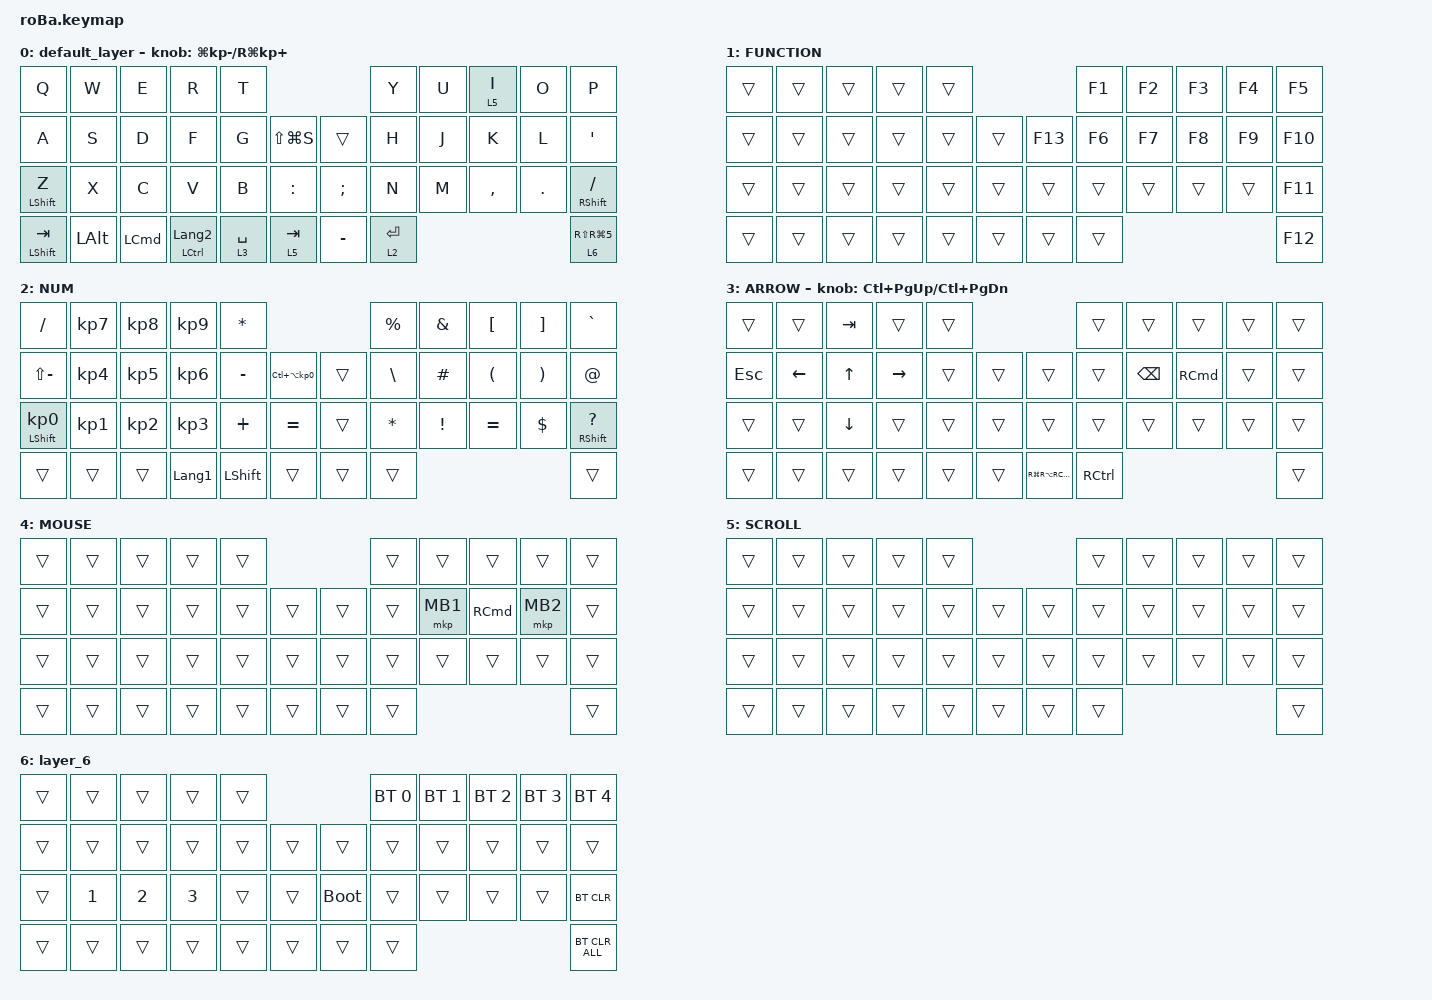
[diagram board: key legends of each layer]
#include <behaviors.dtsi>
#include <dt-bindings/zmk/bt.h>
#include <dt-bindings/zmk/keys.h>
#include <dt-bindings/zmk/pointing.h>

&mt {
    flavor = "balanced";
    quick-tap-ms = <0>;
};

&trackball {
    automouse-layer = <4>;
    scroll-layers = <5>;

    arrows {
        layers = <3>;
        bindings =
            <&kp RIGHT_ARROW>,
            <&kp LEFT_ARROW>,
            <&kp UP_ARROW>,
            <&kp DOWN_ARROW>;

        tick = <10>;
        wait-ms = <5>;
        tap-ms = <5>;
    };
};

/ {
    combos {
        compatible = "zmk,combos";

        tab {
            bindings = <&kp TAB>;
            key-positions = <11 12>;
        };

        shift_tab {
            bindings = <&kp LS(TAB)>;
            key-positions = <12 13>;
        };

        muhennkann {
            bindings = <&to_layer_0 INT_MUHENKAN>;
            key-positions = <11 10>;
        };

        double_quotation {
            bindings = <&kp DOUBLE_QUOTES>;
            key-positions = <20 21>;
        };

        eq {
            bindings = <&kp EQUAL>;
            key-positions = <24 25>;
        };
    };

    macros {
        to_layer_0: to_layer_0 {
            compatible = "zmk,behavior-macro-one-param";
            #binding-cells = <1>;
            bindings = <&to 0 &macro_param_1to1 &kp MACRO_PLACEHOLDER>;
            label = "TO_LAYER_0";
        };
    };

    behaviors {
        lt_to_layer_0: lt_to_layer_0 {
            compatible = "zmk,behavior-hold-tap";
            label = "LAYER_TAP_TO_0";
            bindings = <&mo>, <&to_layer_0>;

            #binding-cells = <2>;
            tapping-term-ms = <200>;
        };
    };

    keymap {
        compatible = "zmk,keymap";

        default_layer {
            bindings = <
&kp Q               &kp W         &kp E             &kp R                        &kp T                                                 &kp Y        &kp U  &lt 5 I    &kp O    &kp P
&kp A               &kp S         &kp D             &kp F                        &kp G        &kp LS(LG(S))             &trans         &kp H        &kp J  &kp K      &kp L    &kp SQT
&mt LEFT_SHIFT Z    &kp X         &kp C             &kp V                        &kp B        &kp COLON                 &kp SEMICOLON  &kp N        &kp M  &kp COMMA  &kp DOT  &mt RSHFT SLASH
&mt LEFT_SHIFT TAB  &kp LEFT_ALT  &kp LEFT_COMMAND  &mt LEFT_CONTROL LANGUAGE_2  &lt 3 SPACE  &lt_to_layer_0 5 TAB      &kp MINUS      &lt 2 ENTER                             &lt 6 RS(RG(NUMBER_5))
            >;

            sensor-bindings = <&inc_dec_kp LG(KP_MINUS) RG(KP_PLUS)>;
        };

        FUNCTION {
            bindings = <
&trans  &trans  &trans  &trans  &trans                       &kp F1  &kp F2  &kp F3  &kp F4  &kp F5
&trans  &trans  &trans  &trans  &trans  &trans      &kp F13  &kp F6  &kp F7  &kp F8  &kp F9  &kp F10
&trans  &trans  &trans  &trans  &trans  &trans      &trans   &trans  &trans  &trans  &trans  &kp F11
&trans  &trans  &trans  &trans  &trans  &trans      &trans   &trans                          &kp F12
            >;
        };

        NUM {
            bindings = <
&kp SLASH                   &kp KP_NUMBER_7  &kp KP_NUMBER_8  &kp KP_NUMBER_9  &kp ASTERISK                                         &kp PERCENT    &kp AMPERSAND    &kp LEFT_BRACKET      &kp RIGHT_BRACKET      &kp GRAVE
&kp LS(MINUS)               &kp KP_NUMBER_4  &kp KP_NUMBER_5  &kp KP_NUMBER_6  &kp MINUS       &kp LC(LA(KP_NUMBER_0))      &trans  &kp BACKSLASH  &kp HASH         &kp LEFT_PARENTHESIS  &kp RIGHT_PARENTHESIS  &kp AT
&mt LEFT_SHIFT KP_NUMBER_0  &kp KP_NUMBER_1  &kp KP_NUMBER_2  &kp KP_NUMBER_3  &kp PLUS        &kp EQUAL                    &trans  &kp ASTERISK   &kp EXCLAMATION  &kp EQUAL             &kp DOLLAR             &mt RIGHT_SHIFT QUESTION
&trans                      &trans           &trans           &kp LANGUAGE_1   &kp LEFT_SHIFT  &trans                       &trans  &trans                                                                       &trans
            >;
        };

        ARROW {
            bindings = <
&trans      &trans          &kp TAB       &trans           &trans                                         &trans             &trans         &trans             &trans  &trans
&kp ESCAPE  &kp LEFT_ARROW  &kp UP_ARROW  &kp RIGHT_ARROW  &trans  &trans      &trans                     &trans             &kp BACKSPACE  &kp RIGHT_COMMAND  &trans  &trans
&trans      &trans          &kp DOWN      &trans           &trans  &trans      &trans                     &trans             &trans         &trans             &trans  &trans
&trans      &trans          &trans        &trans           &trans  &trans      &kp RG(RA(RIGHT_CONTROL))  &kp RIGHT_CONTROL                                            &trans
            >;

            sensor-bindings = <&inc_dec_kp LC(PAGE_UP) LC(PAGE_DOWN)>;
        };

        MOUSE {
            bindings = <
&trans  &trans  &trans  &trans  &trans                      &trans  &trans    &trans             &trans    &trans
&trans  &trans  &trans  &trans  &trans  &trans      &trans  &trans  &mkp MB1  &kp RIGHT_COMMAND  &mkp MB2  &trans
&trans  &trans  &trans  &trans  &trans  &trans      &trans  &trans  &trans    &trans             &trans    &trans
&trans  &trans  &trans  &trans  &trans  &trans      &trans  &trans                                         &trans
            >;
        };

        SCROLL {
            bindings = <
&trans  &trans  &trans  &trans  &trans                      &trans  &trans  &trans  &trans  &trans
&trans  &trans  &trans  &trans  &trans  &trans      &trans  &trans  &trans  &trans  &trans  &trans
&trans  &trans  &trans  &trans  &trans  &trans      &trans  &trans  &trans  &trans  &trans  &trans
&trans  &trans  &trans  &trans  &trans  &trans      &trans  &trans                          &trans
            >;
        };

        layer_6 {
            bindings = <
&trans  &trans        &trans        &trans        &trans                           &bt BT_SEL 0  &bt BT_SEL 1  &bt BT_SEL 2  &bt BT_SEL 3  &bt BT_SEL 4
&trans  &trans        &trans        &trans        &trans  &trans      &trans       &trans        &trans        &trans        &trans        &trans
&trans  &kp NUMBER_1  &kp NUMBER_2  &kp NUMBER_3  &trans  &trans      &bootloader  &trans        &trans        &trans        &trans        &bt BT_CLR
&trans  &trans        &trans        &trans        &trans  &trans      &trans       &trans                                                  &bt BT_CLR_ALL
            >;
        };
    };
};
